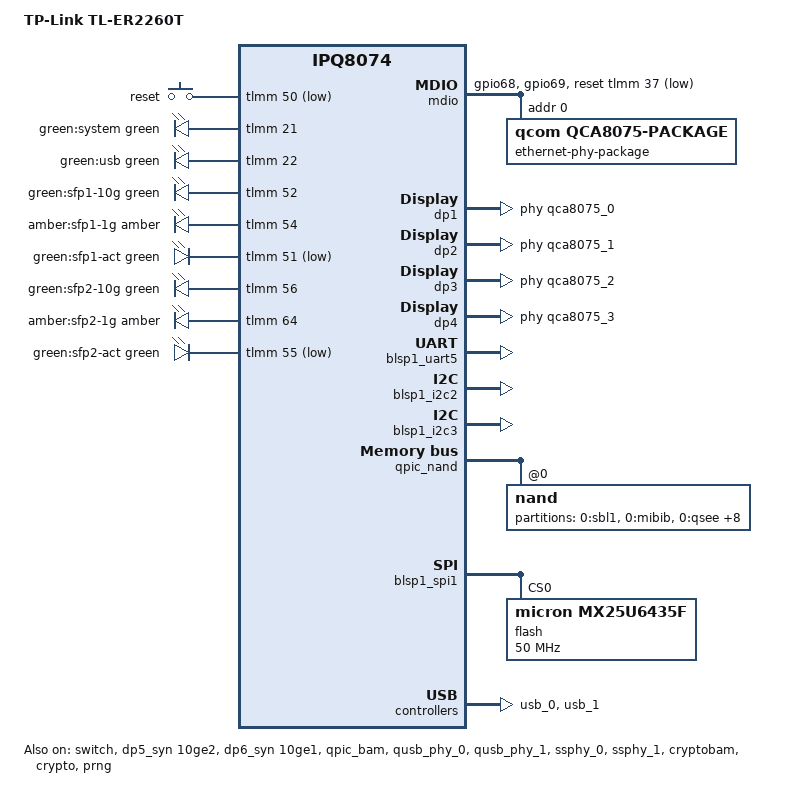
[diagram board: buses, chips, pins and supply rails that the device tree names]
// SPDX-License-Identifier: GPL-2.0-only
/* Copyright (c) 2020 The Linux Foundation. All rights reserved.
 */

/dts-v1/;

#include "ipq8074-512m.dtsi"
#include "ipq8074-ess.dtsi"
#include "ipq8074-nss.dtsi"
#include "ipq8074-hk-cpu.dtsi"
#include <dt-bindings/input/input.h>
#include <dt-bindings/gpio/gpio.h>
#include <dt-bindings/leds/common.h>
/ {
	model = "TP-Link TL-ER2260T";
	compatible = "tplink,tl-er2260t", "qcom,ipq8074";

	aliases {
		serial0 = &blsp1_uart5;
		/* Alias as required by u-boot to patch MAC addresses */
		led-boot = &led_system_green;
		led-failsafe = &led_system_green;
		led-running = &led_system_green;
		led-upgrade = &led_system_green;
	};

	chosen {
		stdout-path = "serial0:115200n8";
		bootargs-append = "  root=/dev/ubiblock0_1 coherent_pool=2M swiotlb=noforce";
	};

	keys {
		compatible = "gpio-keys";
		pinctrl-0 = <&button_pins>;
		pinctrl-names = "default";

		reset {
			label = "reset";
			linux,code = <KEY_RESTART>;
			gpios = <&tlmm 50 GPIO_ACTIVE_LOW>;
		};
	};

	leds {
		compatible = "gpio-leds";

		led_system_green: system-green {
			label = "green:system";
			gpios = <&tlmm 21 GPIO_ACTIVE_HIGH>;
			color = <LED_COLOR_ID_GREEN>;
		};

		led_usb_green {
			label = "green:usb";
			gpios = <&tlmm 22 GPIO_ACTIVE_HIGH>;
			color = <LED_COLOR_ID_GREEN>;
		};

		led_sfp1_speed_green {
			label = "green:sfp1-10g";
			gpios = <&tlmm 52 GPIO_ACTIVE_HIGH>;
			color = <LED_COLOR_ID_GREEN>;
		};

		led_sfp1_speed_amber {
			label = "amber:sfp1-1g";
			gpios = <&tlmm 54 GPIO_ACTIVE_HIGH>;
			color = <LED_COLOR_ID_AMBER>;
		};

		led_sfp1_act_green {
			label = "green:sfp1-act";
			gpios = <&tlmm 51 GPIO_ACTIVE_LOW>;
			color = <LED_COLOR_ID_GREEN>;
		};

		led_sfp2_speed_green {
			label = "green:sfp2-10g";
			gpios = <&tlmm 56 GPIO_ACTIVE_HIGH>;
			color = <LED_COLOR_ID_GREEN>;
		};

		led_sfp2_speed_amber {
			label = "amber:sfp2-1g";
			gpios = <&tlmm 64 GPIO_ACTIVE_HIGH>;
			color = <LED_COLOR_ID_AMBER>;
		};

		led_sfp2_act_green {
			label = "green:sfp2-act";
			gpios = <&tlmm 55 GPIO_ACTIVE_LOW>;
			color = <LED_COLOR_ID_GREEN>;
		};
	};
};

&tlmm {
	mdio_pins: mdio-pins {
		mdc {
			pins = "gpio68";
			function = "mdc";
			drive-strength = <8>;
			bias-pull-up;
		};

		mdio {
			pins = "gpio69";
			function = "mdio";
			drive-strength = <8>;
			bias-pull-up;
		};
	};

	i2c_1_pins: i2c_1_pins {
		pins = "gpio46", "gpio47";
		function = "blsp2_i2c";
		drive-strength = <8>;
		bias-disable;
	};

	button_pins: button_pins {
		reset {
			pins = "gpio50";
			function = "gpio";
			drive-strength = <8>;
			bias-pull-up;
		};
	};

	uniphy_pins: uniphy_pinmux {
		mux {
			pins = "gpio60";
			function = "rx2";
			bias-disable;
		};

		sfp_tx {
			pins = "gpio59";
			function = "gpio";
			drive-strength = <8>;
			bias-pull-down;
			output-low;
		};
	};

	leds_pins: leds_pinmux {
		mux {
			pins = "gpio21", "gpio22", "gpio51", "gpio52", 
				"gpio54", "gpio55", "gpio56", "gpio64";
			function = "gpio";
			drive-strength = <8>;
			bias-pull-down;
		};
	};
};

&mdio {
	status = "okay";
	pinctrl-0 = <&mdio_pins>;
	pinctrl-names = "default";
	reset-gpios = <&tlmm 37 GPIO_ACTIVE_LOW>;

	ethernet-phy-package@0 {
		#address-cells = <1>;
		#size-cells = <0>;
		reg = <0>;

		compatible = "qcom,qca8075-package";

		qca8075_0: ethernet-phy@0 {
			compatible = "ethernet-phy-ieee802.3-c22";
			reg = <0>;
		};

		qca8075_1: ethernet-phy@1 {
			compatible = "ethernet-phy-ieee802.3-c22";
			reg = <1>;
		};

		qca8075_2: ethernet-phy@2 {
			compatible = "ethernet-phy-ieee802.3-c22";
			reg = <2>;
		};

		qca8075_3: ethernet-phy@3 {
			compatible = "ethernet-phy-ieee802.3-c22";
			reg = <3>;
		};

		phy4: ethernet-phy@4 {
			reg = <29>;
		};

		phy5: ethernet-phy@5 {
			reg = <30>;
		};
	};

};

&switch {
	status = "okay";
	switch_cpu_bmp = <0x1>;  /* cpu port bitmap */
	switch_lan_bmp = <(ESS_PORT1 | ESS_PORT2 | ESS_PORT3 | ESS_PORT4 | ESS_PORT6)>; /* lan port bitmap */
	switch_wan_bmp = <ESS_PORT5>; /* wan port bitmap */
	switch_mac_mode = <MAC_MODE_PSGMII>; /* mac mode for uniphy instance0 */
	switch_mac_mode1 = <MAC_MODE_10GBASE_R>;  /* use 10g_baser mode for default */
	switch_mac_mode2 = <MAC_MODE_10GBASE_R>; /* use 10g_baser mode for default */
	cmnblk_clk = "external_50MHz";
	sfp1_gpio = <&tlmm 29 GPIO_ACTIVE_LOW>;
	sfp2_gpio = <&tlmm 30 GPIO_ACTIVE_LOW>;

	qcom,port_phyinfo {
		port@0 {
			port_id = <1>;
			phy_address = <0>;
		};

		port@1 {
			port_id = <2>;
			phy_address = <1>;
		};

		port@2 {
			port_id = <3>;
			phy_address = <2>;
		};

		port@3 {
			port_id = <4>;
			phy_address = <3>;
		};

		sfp_1: port@4 {
			port_id = <5>;
			phy_address = <29>;
			phy_i2c_address = <29>; /* 29 */
			phy-i2c-mode; /*i2c access phy */
			media-type = "sfp"; /* fiber mode */
		};

		sfp_2: port@5 {
			port_id = <6>;
			phy_address = <30>;
			phy_i2c_address = <30>; /* 30 */
			phy-i2c-mode; /*i2c access phy */
			media-type = "sfp"; /* fiber mode */
		};
	};
};

&edma {
	status = "okay";
};

&dp1 {
	status = "okay";
	phy-handle = <&qca8075_0>;
	label = "ge1";
	nvmem-cells = <&macaddr_lan>;
	nvmem-cell-names = "mac-address";
};

&dp2 {
	status = "okay";
	phy-handle = <&qca8075_1>;
	label = "ge2";
	nvmem-cells = <&macaddr_lan>;
	nvmem-cell-names = "mac-address";
};

&dp3 {
	status = "okay";
	phy-handle = <&qca8075_2>;
	label = "ge3";
	nvmem-cells = <&macaddr_lan>;
	nvmem-cell-names = "mac-address";
};

&dp4 {
	status = "okay";
	phy-handle = <&qca8075_3>;
	label = "ge4";
	nvmem-cells = <&macaddr_lan>;
	nvmem-cell-names = "mac-address";
};

&dp5_syn {
	status = "okay";
	phy-handle = <&sfp_1>;
	label = "10ge2";
	qcom,phy-mdio-addr = <29>;
	nvmem-cells = <&macaddr_wan>;
	nvmem-cell-names = "mac-address";
};

&dp6_syn {
	status = "okay";
	phy-mode = "sgmii";
	phy-handle = <&sfp_2>;
	label = "10ge1";
	qcom,phy-mdio-addr = <30>;
	nvmem-cells = <&macaddr_lan>;
	nvmem-cell-names = "mac-address";
};

&blsp1_uart5 {
	status = "okay";
};

&blsp1_i2c2 {
	status = "okay";
};

&blsp1_i2c3 {
	status = "okay";
};

&qpic_bam {
	status = "okay";
};

&qpic_nand {
	status = "okay";

	/*
	 * Bootloader will find the NAND DT node by the compatible and
	 * then "fixup" it by adding the partitions from the SMEM table
	 * using the legacy bindings thus making it impossible for us
	 * to change the partition table or utilize NVMEM for calibration.
	 * So add a dummy partitions node that bootloader will populate
	 * and set it as disabled so the kernel ignores it instead of
	 * printing warnings due to the broken way bootloader adds the
	 * partitions.
	 */
	partitions {
		status = "disabled";
	};

	nand@0 {
		reg = <0>;
		#address-cells = <1>;
		#size-cells = <1>;
		nand-ecc-strength = <4>;
		nand-ecc-step-size = <512>;
		nand-bus-width = <8>;

		partitions {
			compatible = "fixed-partitions";
			#address-cells = <1>;
			#size-cells = <1>;

			partition@0 {
				label = "0:sbl1";
				reg = <0x0 0x80000>;
				read-only;
			};

			partition@80000 {
				label = "0:mibib";
				reg = <0x80000 0x80000>;
				read-only;
			};

			partition@100000 {
				label = "0:qsee";
				reg = <0x100000 0x200000>;
				read-only;
			};

			partition@300000 {
				label = "0:devcfg";
				reg = <0x300000 0x20000>;
				read-only;
			};

			partition@320000 {
				label = "0:rpm";
				reg = <0x320000 0x40000>;
				read-only;
			};

			partition@360000 {
				label = "0:cdt";
				reg = <0x360000 0x20000>;
				read-only;
			};

			partition@380000 {
				label = "0:appsbl";
				reg = <0x380000 0x180000>;
				read-only;
			};

			partition@500000 {
				label = "0:ethphyfw";
				reg = <0x500000 0x80000>;

				nvmem-layout {
					compatible = "fixed-layout";
					#address-cells = <1>;
					#size-cells = <1>;

					macaddr_lan: macaddr@0 {
						reg = <0x0 0x6>;
					};

					macaddr_wan: macaddr@1 {
						reg = <0x6 0x6>;
					};
				};
			};

			partition@580000 {
				label = "0:appsblenv";
				reg = <0x580000 0x80000>;
				read-only;
			};

			partition@600000 {
				label = "0:art";
				reg = <0x600000 0x20000>;
				read-only;
			};

			partition@620000 {
				label = "rootfs";
				reg = <0x620000 0x7900000>;
			};
		};
	};
};

&blsp1_spi1 {
	pinctrl-0 = <&spi_0_pins>;
	pinctrl-names = "default";
	status = "okay";

	flash@0 {
		#address-cells = <1>;
		#size-cells = <1>;
		reg = <0>;
		linux,modalias = "m25p80", "mx25u6435f", "mx30uf2g18ac", "n25q128a11";
		compatible = "micron, mx25u6435f", "jedec,spi-nor";
		spi-max-frequency = <50000000>;
		use-default-sizes;
	};
};

&qusb_phy_0 {
	status = "okay";
};

&qusb_phy_1 {
	status = "okay";
};

&ssphy_0 {
	status = "okay";
};

&ssphy_1 {
	status = "okay";
};

&usb_0 {
	status = "okay";
};

&usb_1 {
	status = "okay";
};


&cryptobam {
	status = "okay";
};

&crypto {
	status = "okay";
};

&prng {
	status = "okay";
};
